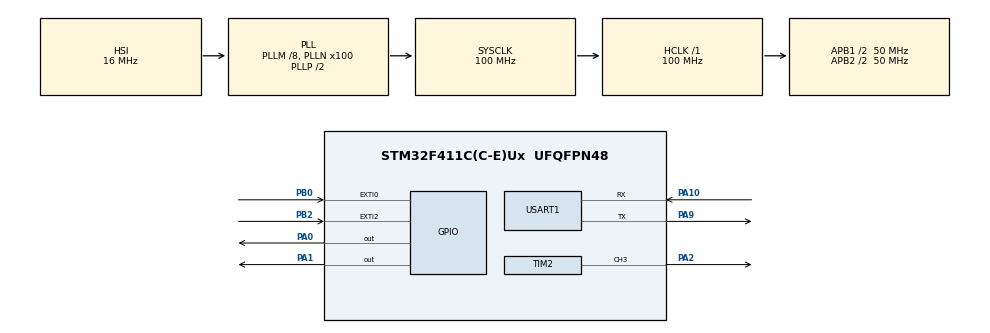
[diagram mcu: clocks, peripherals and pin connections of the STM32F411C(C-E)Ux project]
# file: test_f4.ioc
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Dma.Request0=USART1_RX
Dma.Request1=USART1_TX
Dma.USART1_RX.0.Direction=DMA_PERIPH_TO_MEMORY
Dma.USART1_RX.0.FIFOMode=DMA_FIFOMODE_DISABLE
Dma.USART1_RX.0.Instance=DMA2_Stream2
Dma.USART1_RX.0.MemDataAlignment=DMA_MDATAALIGN_BYTE
Dma.USART1_RX.0.MemInc=DMA_MINC_ENABLE
Dma.USART1_RX.0.Mode=DMA_NORMAL
Dma.USART1_RX.0.PeriphDataAlignment=DMA_PDATAALIGN_BYTE
Dma.USART1_RX.0.PeriphInc=DMA_PINC_DISABLE
Dma.USART1_RX.0.Priority=DMA_PRIORITY_LOW
Dma.USART1_TX.1.Direction=DMA_MEMORY_TO_PERIPH
Dma.USART1_TX.1.FIFOMode=DMA_FIFOMODE_DISABLE
Dma.USART1_TX.1.Instance=DMA2_Stream7
Dma.USART1_TX.1.MemDataAlignment=DMA_MDATAALIGN_BYTE
Dma.USART1_TX.1.MemInc=DMA_MINC_ENABLE
Dma.USART1_TX.1.Mode=DMA_NORMAL
Dma.USART1_TX.1.PeriphDataAlignment=DMA_PDATAALIGN_BYTE
Dma.USART1_TX.1.PeriphInc=DMA_PINC_DISABLE
Dma.USART1_TX.1.Priority=DMA_PRIORITY_LOW
Mcu.Family=STM32F4
Mcu.Name=STM32F411C(C-E)Ux
Mcu.Package=UFQFPN48
NVIC.DMA2_Stream2_IRQn=true\:0\:0\:false\:false\:true\:false\:true\:true
NVIC.DMA2_Stream7_IRQn=true\:0\:0\:false\:false\:true\:false\:true\:true
NVIC.EXTI0_IRQn=true\:0\:0\:false\:false\:true\:true\:true\:true
NVIC.EXTI2_IRQn=true\:0\:0\:false\:false\:true\:true\:true\:true
NVIC.PriorityGroup=NVIC_PRIORITYGROUP_4
NVIC.TIM4_IRQn=true\:0\:0\:false\:false\:true\:true\:true\:true
NVIC.USART1_IRQn=true\:0\:0\:false\:false\:true\:true\:true\:true
PA0-WKUP.Signal=GPIO_Output
PA1.Signal=GPIO_Output
PA10.Mode=Asynchronous
PA10.Signal=USART1_RX
PA13.Mode=Serial_Wire
PA13.Signal=SYS_JTMS-SWDIO
PA14.Mode=Serial_Wire
PA14.Signal=SYS_JTCK-SWCLK
PA2.Signal=S_TIM2_CH3
PA9.Mode=Asynchronous
PA9.Signal=USART1_TX
PB0.GPIO_ModeDefaultEXTI=GPIO_MODE_IT_RISING_FALLING
PB0.GPIO_PuPd=GPIO_PULLUP
PB0.Signal=GPXTI0
PB2.GPIO_ModeDefaultEXTI=GPIO_MODE_IT_RISING_FALLING
PB2.GPIO_PuPd=GPIO_PULLUP
PB2.Signal=GPXTI2
PH0\ -\ OSC_IN.Mode=HSE-External-Oscillator
PH0\ -\ OSC_IN.Signal=RCC_OSC_IN
PH1\ -\ OSC_OUT.Mode=HSE-External-Oscillator
PH1\ -\ OSC_OUT.Signal=RCC_OSC_OUT
ProjectManager.HeapSize=0x200
ProjectManager.StackSize=0x400
ProjectManager.TargetToolchain=MDK-ARM V5.32
RCC.48MHZClocksFreq_Value=50000000
RCC.AHBFreq_Value=100000000
RCC.APB1CLKDivider=RCC_HCLK_DIV2
RCC.APB1Freq_Value=50000000
RCC.APB1TimFreq_Value=100000000
RCC.APB2CLKDivider=RCC_HCLK_DIV2
RCC.APB2Freq_Value=50000000
RCC.APB2TimFreq_Value=100000000
RCC.CortexFreq_Value=100000000
RCC.HCLKFreq_Value=100000000
RCC.HSE_VALUE=25000000
RCC.HSI_VALUE=16000000
RCC.LSE_VALUE=32768
RCC.PLLM=8
RCC.PLLN=100
RCC.SYSCLKFreq_VALUE=100000000
RCC.SYSCLKSource=RCC_SYSCLKSOURCE_PLLCLK
RCC.VCOOutputFreq_Value=200000000
SH.S_TIM2_CH3.0=TIM2_CH3,PWM Generation3 CH3
TIM2.Channel-PWM\ Generation3\ CH3=TIM_CHANNEL_3
TIM2.Period=1000
TIM2.Prescaler=4
TIM4.Period=4999
TIM4.Prescaler=99
USART1.VirtualMode=VM_ASYNC
VP_TIM2_VS_ClockSourceINT.Mode=Internal
VP_TIM4_VS_ClockSourceINT.Mode=Internal
board=custom

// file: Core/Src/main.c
/* USER CODE BEGIN Header */
/**
  ******************************************************************************
  * @file           : main.c
  * @brief          : Main program body
  ******************************************************************************
  * @attention
  *
  * Copyright (c) 2024 STMicroelectronics.
  * All rights reserved.
  *
  * This software is licensed under terms that can be found in the LICENSE file
  * in the root directory of this software component.
  * If no LICENSE file comes with this software, it is provided AS-IS.
  *
  ******************************************************************************
  */
/* USER CODE END Header */
#include "main.h"

/* USER CODE BEGIN Includes */
#include "stdio.h"
#include "string.h"
#include "stdlib.h"
#include "stdbool.h"
#include "math.h"

#include "encoder.h"
#include "motor.h"
#include "pid_controller.h"
#include "system_config.h"
#include "trajectory.h"
#include "uart.h"

/* USER CODE END Includes */

TIM_HandleTypeDef htim2;
TIM_HandleTypeDef htim4;

UART_HandleTypeDef huart1;
DMA_HandleTypeDef hdma_usart1_rx;
DMA_HandleTypeDef hdma_usart1_tx;

void SystemClock_Config(void);
static void MX_GPIO_Init(void);
static void MX_DMA_Init(void);
static void MX_TIM2_Init(void);
static void MX_USART1_UART_Init(void);
static void MX_TIM4_Init(void);
/* USER CODE BEGIN PFP */
//=== Vel: PI
#if 1
float Kp 	= 8.7719;
float Ki 	= 438.5965;
float Kb 	= 50.0000;
float Kd  = 0;
float alpha_vel = 0.0f;

//float Kp 	= 23.3;
//float Ki 	= 776.67;
//float Kb 	= 33.33;//;
//float Kd  = 0;
//float alpha_vel = 0.0f;
#endif
#if 0
float Kp 	= 1.1363;//0.2058;
float Ki 	= 37.8261;//6.3327;
float Kb 	= 33.2889;//;
float Kd  = 0;
float alpha_vel = 0.0f;
#endif
//=== Improved Profile Gains
float	Kp_pos = 800.0;
float Kpp_improved = 10.0;   // P gain position controller
//float Kpp_improved = 5.0;   // P gain position controller
float Kest = 100000.0;           // Estimation gain (< 1.0: overdamped, > 1.0: underdamped)
float Kcom = 20.0;           	 // Compensation gain (< 1.0: overdamped, > 1.0: underdamped)
//=== Uart
char Rx_indx, Rx_Buffer[MaxBuffer],Rx_data[MaxBuffer];
//char Tx_Buffer[MaxBuffer];
volatile uint8_t uart1_flag = 0;

encoder Encoder = {0};
motor Motor = {0};
pid_controller PIDVel;
pid_controller PIDPos;
Trajectory_t trajectory = {0};
/* USER CODE END PFP */

/* USER CODE BEGIN 0 */
float max_pwm_P = SYS_MaxPWM_P;
float speed = 0;
int8_t chieu = 0;
uint32_t count_element = 0;
char Tx_Buffer[MaxBuffer];  // 2 buffer xen kẽ
volatile uint8_t active_buffer = 0;
volatile uint8_t dma_busy = 0;
PlotBuffer_t plot_buffer = {0};

void HAL_TIM_PeriodElapsedCallback(TIM_HandleTypeDef *htim) {
    if(htim->Instance == TIM4) {    // 5ms
			switch(Motor.mode){
				case MOTOR_SetPos:
					MOTOR_CalculateParams(&Motor, &Encoder, trajectory.sign, trajectory.phase);
					speed = Motor.CurVel_rad;
					if(chieu == -1) Motor.pwm = -1000;
					else if(chieu == 0) Motor.pwm = 0;
					else Motor.pwm = 1000;					break;

				case MOTOR_P_PI:
					// TÍNH TOÁN THÔNG SỐ
					MOTOR_CalculateParams(&Motor, &Encoder, trajectory.sign, trajectory.phase);
					// CẬP NHẬT TRAJECTORY
					if(trajectory.use_v1) TRAJ_DrawTrajectory_v1(&trajectory);
					else TRAJ_DrawTrajectory(&trajectory);
					// PID VỊ TRÍ
					Motor.DesiredVel_mm = PID_Pos_Improved(&PIDPos, trajectory.q_desired, Motor.CurPos_mm);
					Motor.DesiredVel_rad = Motor.DesiredVel_mm * SYS_MM2RAD;
					//if(fabs(Motor.DesiredVel_rad) < 0.85) Motor.DesiredVel_rad = 0;
					// PID VẬN TỐC
					Motor.pwm = PID_Vel(&PIDVel, Motor.DesiredVel_rad, Motor.CurVel_rad, trajectory.phase, trajectory.sign);
					break;
				case MOTOR_P:
					// TÍNH TOÁN THÔNG SỐ
					MOTOR_CalculateParams(&Motor, &Encoder, trajectory.sign, trajectory.phase);
					// CẬP NHẬT TRAJECTORY
					if(trajectory.use_v1) TRAJ_DrawTrajectory_v1(&trajectory);
					else TRAJ_DrawTrajectory(&trajectory);
					// PID VỊ TRÍ
					Motor.pwm = PID_Pos_Simple(&PIDPos, trajectory.q_desired, Motor.CurPos_mm);

					break;
			}
			if(Motor.tick_enabled) Motor.tick++;
			MOTOR_SetRun(&Motor);
			#if 1
			if (Motor.plot_active) {
            // Ghi d? li?u vào buffer
            if (plot_buffer.count < PLOT_BUFFER_SIZE) {
                PlotData_t *data = &plot_buffer.buffer[plot_buffer.write_idx];

                data->q_desired = trajectory.q_desired_prev;
                data->q_actual = Motor.CurPos_mm;
                data->v_desired = 0.0;
                data->v_actual = (float)Motor.DesiredVel_mm;
                data->v_motor = Motor.CurVel_mm;
                data->a_desired = 0.0;
                data->a_motor = Motor.Acc_mm;
								data->pwm = Motor.pwm;

                plot_buffer.write_idx = (plot_buffer.write_idx + 1) % PLOT_BUFFER_SIZE;

                // CRITICAL: Tang count ph?i atomic
                __disable_irq();
                plot_buffer.count++;
                __enable_irq();
            }
        }
			// Cập nhật state
			trajectory.v_desired_prev = trajectory.v_desired;
			trajectory.q_desired_prev = trajectory.q_desired;
			#endif
    }
}
void HAL_UART_TxCpltCallback(UART_HandleTypeDef *huart) {
    if(huart->Instance == USART1) {
        dma_busy = 0;  // Cho phép gửi tiếp
    }
}
/* USER CODE END 0 */

int main(void)
{

  /* MCU Configuration--------------------------------------------------------*/

  /* Reset of all peripherals, Initializes the Flash interface and the Systick. */
  HAL_Init();

  /* Configure the system clock */
  SystemClock_Config();

  /* Initialize all configured peripherals */
  MX_GPIO_Init();
  MX_DMA_Init();
  MX_TIM2_Init();
  MX_USART1_UART_Init();
  MX_TIM4_Init();

  /* Infinite loop */
  /* USER CODE BEGIN WHILE */
	//--- Timer
	HAL_TIM_Base_Start_IT(&htim4);
	//--- PWM
	HAL_TIM_PWM_Start(&htim2, TIM_CHANNEL_3);
	//--- UART
	UART_Receive_Enable(&huart1, (uint8_t *)Rx_Buffer, MaxBuffer);
	//--- SetParams

	MOTOR_SetParams(&Motor, TIM_CHANNEL_3, MOTOR_PIN_1, MOTOR_PIN_2, MOTOR_SetPos, MOTOR_MAXVEL_MM);
	PID_SetParams(&PIDVel, Kp, Ki, Kd, Kb, alpha_vel, SYS_MaxPWM, SYS_SAMPLETIME);
	if(Motor.mode == MOTOR_P)PID_SetParamsImproved(&PIDPos, Kp_pos, SYS_MaxPWM_P, SYS_SAMPLETIME, Kest, Kcom, Motor.a_max_mm);
	else PID_SetParamsImproved(&PIDPos, Kpp_improved, Motor.v_max_mm, SYS_SAMPLETIME, Kest, Kcom, Motor.a_max_mm);
	PID_ResetState(&PIDPos);

	TRAJ_SetParams(&trajectory, SYS_SAMPLETIME, SYS_RUN_TIME, SYS_STOP_TIME, Motor.a_max_mm * 2.0, Motor.v_max_mm);

	float Kpp_improved_pre = Kpp_improved;
	float preKest = Kest;
	float preKcom = Kcom;
	float premax_pwm_P = max_pwm_P;
	float preKp_pos = Kp_pos;
//	trajectory.test = 1;
//	Motor.pwm = 1000;
//	trajectory.sign = 1;
//	HAL_Delay(1000);
//	MOTOR_SetRun(&Motor);
//	__HAL_TIM_SetCompare(&htim2, TIM_CHANNEL_3, 1000);
  while (1)
  {
			#if 1
			if(plot_buffer.reset) {
					chieu = 0;
					memset(Tx_Buffer, 0, sizeof(Tx_Buffer));
					UART_ResetPlotData(&plot_buffer);

					MOTOR_ResetParams(&Motor);
					ENCODER_ResetParams(&Encoder);
					TRAJ_ResetParams(&trajectory);
					PID_ResetParams(&PIDVel);
					plot_buffer.reset = 0;
					HAL_Delay(200);
			}
			switch(Motor.mode){
					case MOTOR_SetPos:
						break;

					case MOTOR_P_PI:
							if (plot_buffer.count > 0 && !dma_busy) {
									PlotData_t *data = &plot_buffer.buffer[plot_buffer.read_idx];

									int len = snprintf(Tx_Buffer, MaxBuffer,
																		"%.3f %.3f %.3f %.3f %.3f %.3f %.3f %.3f 0.0\r\n",
																		data->q_desired,
																		data->q_actual,
																		data->v_desired,
																		data->v_actual,
																		data->v_motor,
																		data->a_desired,
																		data->a_motor,
																		data->pwm
																		);

									if (len > 0 && len < MaxBuffer) {
											dma_busy = 1;
											HAL_UART_Transmit_DMA(&huart1, (uint8_t *)Tx_Buffer, len);

											plot_buffer.read_idx = (plot_buffer.read_idx + 1) % PLOT_BUFFER_SIZE;

											__disable_irq();
											plot_buffer.count--;
											__enable_irq();

											count_element++;
									}
							}
						if(trajectory.phase == TRAJ_PHASE_STOP) {  // Đã gần đích
								Motor.tick_enabled = 1;

								if(Motor.tick >= 400){  // 400 * 5ms = 2s
										// Sau 2s mà vẫn sai số > 10mm => CÓ LỖI
										if(fabs(trajectory.q_desired - Motor.CurPos_mm) > 10.0) {
												plot_buffer.reset = 1;
												PIDVel.err_state = 1;
										}
										else {
												// Đã ổn định => tắt tick
												Motor.check = 0;
												Motor.tick_enabled = 0;
										}
										Motor.tick = 0;
								}
						}
						else {
								// Động cơ đang chuyển động hoặc chưa gần đích => KHÔNG kiểm tra lỗi
								Motor.tick_enabled = 0;
								Motor.tick = 0;
						}
						break;
					case MOTOR_P:
							if (plot_buffer.count > 0 && !dma_busy) {
								PlotData_t *data = &plot_buffer.buffer[plot_buffer.read_idx];

								int len = snprintf(Tx_Buffer, MaxBuffer,
																	"%.3f %.3f %.3f %.3f %.3f %.3f %.3f %.3f 0.0\r\n",
																	data->q_desired,
																	data->q_actual,
																	0.0,
																	0.0,
																	data->v_motor,
																	0.0,
																	data->a_motor,
																	data->pwm
																	);

								if (len > 0 && len < MaxBuffer) {
										dma_busy = 1;
										HAL_UART_Transmit_DMA(&huart1, (uint8_t *)Tx_Buffer, len);

										plot_buffer.read_idx = (plot_buffer.read_idx + 1) % PLOT_BUFFER_SIZE;

										__disable_irq();
										plot_buffer.count--;
										__enable_irq();

										chieu += 1.0;
								}
						}
						break;
				}
				if(Motor.DesiredPos_mm != Motor.DesiredPos_mm_pre){
						trajectory.plot_active = 1;
						trajectory.move_active = 1;
						Motor.plot_active = 1;
						Motor.tick_enabled = 0;
						Motor.tick = 0;
						Motor.DesiredPos_mm_pre = Motor.DesiredPos_mm;
								TRAJ_SetupMultiSegmentMove_100mm(&trajectory, Motor.DesiredPos_mm);
								TRAJ_ContinueNextSegment_100mm(&trajectory);
						PID_ResetState(&PIDPos);
				}
				if(trajectory.phase == TRAJ_PHASE_COMPLETE &&
					 (fabs(Motor.DesiredPos_mm - Motor.CurPos_mm)) <= Motor.cycle_error[Motor.cycle_index] &&
					 Motor.auto_run)
				{
						if(Motor.cycle_count > 0){
								// Kiểm tra đang ở vị trí nào
								if(fabs(Motor.DesiredPos_mm_pre) < 0.1){
										// Đang ở vị trí 0 → Đi đến vị trí đích
										Motor.DesiredPos_mm = Motor.AutoDesiredPos_mm;
								} else {
										// Đang ở vị trí đích → Quay về 0
										Motor.DesiredPos_mm = 0;

										// Giảm cycle sau khi hoàn thành 1 chu kỳ đầy đủ (đi + về)
										Motor.cycle_count--;
								}
						}
						else {
								// Hết cycle → Dừng auto_run
								Motor.auto_run = 0;
								Motor.DesiredPos_mm_pre = 0;
						}
				}
				#endif
				HAL_Delay(1);
    /* USER CODE END WHILE */

  }
}

void SystemClock_Config(void)
{
  RCC_OscInitTypeDef RCC_OscInitStruct = {0};
  RCC_ClkInitTypeDef RCC_ClkInitStruct = {0};

  /** Configure the main internal regulator output voltage
  */
  __HAL_RCC_PWR_CLK_ENABLE();
  __HAL_PWR_VOLTAGESCALING_CONFIG(PWR_REGULATOR_VOLTAGE_SCALE1);

  /** Initializes the RCC Oscillators according to the specified parameters
  * in the RCC_OscInitTypeDef structure.
  */
  RCC_OscInitStruct.OscillatorType = RCC_OSCILLATORTYPE_HSI;
  RCC_OscInitStruct.HSIState = RCC_HSI_ON;
  RCC_OscInitStruct.HSICalibrationValue = RCC_HSICALIBRATION_DEFAULT;
  RCC_OscInitStruct.PLL.PLLState = RCC_PLL_ON;
  RCC_OscInitStruct.PLL.PLLSource = RCC_PLLSOURCE_HSI;
  RCC_OscInitStruct.PLL.PLLM = 8;
  RCC_OscInitStruct.PLL.PLLN = 100;
  RCC_OscInitStruct.PLL.PLLP = RCC_PLLP_DIV2;
  RCC_OscInitStruct.PLL.PLLQ = 4;
  if (HAL_RCC_OscConfig(&RCC_OscInitStruct) != HAL_OK)
  {
    Error_Handler();
  }

  /** Initializes the CPU, AHB and APB buses clocks
  */
  RCC_ClkInitStruct.ClockType = RCC_CLOCKTYPE_HCLK|RCC_CLOCKTYPE_SYSCLK
                              |RCC_CLOCKTYPE_PCLK1|RCC_CLOCKTYPE_PCLK2;
  RCC_ClkInitStruct.SYSCLKSource = RCC_SYSCLKSOURCE_PLLCLK;
  RCC_ClkInitStruct.AHBCLKDivider = RCC_SYSCLK_DIV1;
  RCC_ClkInitStruct.APB1CLKDivider = RCC_HCLK_DIV2;
  RCC_ClkInitStruct.APB2CLKDivider = RCC_HCLK_DIV2;

  if (HAL_RCC_ClockConfig(&RCC_ClkInitStruct, FLASH_LATENCY_3) != HAL_OK)
  {
    Error_Handler();
  }
}

static void MX_TIM2_Init(void)
{

  TIM_ClockConfigTypeDef sClockSourceConfig = {0};
  TIM_MasterConfigTypeDef sMasterConfig = {0};
  TIM_OC_InitTypeDef sConfigOC = {0};

  htim2.Instance = TIM2;
  htim2.Init.Prescaler = 4;
  htim2.Init.CounterMode = TIM_COUNTERMODE_UP;
  htim2.Init.Period = 1000;
  htim2.Init.ClockDivision = TIM_CLOCKDIVISION_DIV1;
  htim2.Init.AutoReloadPreload = TIM_AUTORELOAD_PRELOAD_DISABLE;
  if (HAL_TIM_Base_Init(&htim2) != HAL_OK)
  {
    Error_Handler();
  }
  sClockSourceConfig.ClockSource = TIM_CLOCKSOURCE_INTERNAL;
  if (HAL_TIM_ConfigClockSource(&htim2, &sClockSourceConfig) != HAL_OK)
  {
    Error_Handler();
  }
  if (HAL_TIM_PWM_Init(&htim2) != HAL_OK)
  {
    Error_Handler();
  }
  sMasterConfig.MasterOutputTrigger = TIM_TRGO_RESET;
  sMasterConfig.MasterSlaveMode = TIM_MASTERSLAVEMODE_DISABLE;
  if (HAL_TIMEx_MasterConfigSynchronization(&htim2, &sMasterConfig) != HAL_OK)
  {
    Error_Handler();
  }
  sConfigOC.OCMode = TIM_OCMODE_PWM1;
  sConfigOC.Pulse = 0;
  sConfigOC.OCPolarity = TIM_OCPOLARITY_HIGH;
  sConfigOC.OCFastMode = TIM_OCFAST_DISABLE;
  if (HAL_TIM_PWM_ConfigChannel(&htim2, &sConfigOC, TIM_CHANNEL_3) != HAL_OK)
  {
    Error_Handler();
  }
  HAL_TIM_MspPostInit(&htim2);

}

static void MX_TIM4_Init(void)
{

  TIM_ClockConfigTypeDef sClockSourceConfig = {0};
  TIM_MasterConfigTypeDef sMasterConfig = {0};

  htim4.Instance = TIM4;
  htim4.Init.Prescaler = 99;
  htim4.Init.CounterMode = TIM_COUNTERMODE_UP;
  htim4.Init.Period = 4999;
  htim4.Init.ClockDivision = TIM_CLOCKDIVISION_DIV1;
  htim4.Init.AutoReloadPreload = TIM_AUTORELOAD_PRELOAD_DISABLE;
  if (HAL_TIM_Base_Init(&htim4) != HAL_OK)
  {
    Error_Handler();
  }
  sClockSourceConfig.ClockSource = TIM_CLOCKSOURCE_INTERNAL;
  if (HAL_TIM_ConfigClockSource(&htim4, &sClockSourceConfig) != HAL_OK)
  {
    Error_Handler();
  }
  sMasterConfig.MasterOutputTrigger = TIM_TRGO_RESET;
  sMasterConfig.MasterSlaveMode = TIM_MASTERSLAVEMODE_DISABLE;
  if (HAL_TIMEx_MasterConfigSynchronization(&htim4, &sMasterConfig) != HAL_OK)
  {
    Error_Handler();
  }

}

static void MX_USART1_UART_Init(void)
{

  huart1.Instance = USART1;
  huart1.Init.BaudRate = 115200;
  huart1.Init.WordLength = UART_WORDLENGTH_8B;
  huart1.Init.StopBits = UART_STOPBITS_1;
  huart1.Init.Parity = UART_PARITY_NONE;
  huart1.Init.Mode = UART_MODE_TX_RX;
  huart1.Init.HwFlowCtl = UART_HWCONTROL_NONE;
  huart1.Init.OverSampling = UART_OVERSAMPLING_16;
  if (HAL_UART_Init(&huart1) != HAL_OK)
  {
    Error_Handler();
  }

}

static void MX_DMA_Init(void)
{

  /* DMA controller clock enable */
  __HAL_RCC_DMA2_CLK_ENABLE();

  /* DMA interrupt init */
  /* DMA2_Stream2_IRQn interrupt configuration */
  HAL_NVIC_SetPriority(DMA2_Stream2_IRQn, 0, 0);
  HAL_NVIC_EnableIRQ(DMA2_Stream2_IRQn);
  /* DMA2_Stream7_IRQn interrupt configuration */
  HAL_NVIC_SetPriority(DMA2_Stream7_IRQn, 0, 0);
  HAL_NVIC_EnableIRQ(DMA2_Stream7_IRQn);

}

static void MX_GPIO_Init(void)
{
  GPIO_InitTypeDef GPIO_InitStruct = {0};

  /* GPIO Ports Clock Enable */
  __HAL_RCC_GPIOH_CLK_ENABLE();
  __HAL_RCC_GPIOA_CLK_ENABLE();
  __HAL_RCC_GPIOB_CLK_ENABLE();

  /*Configure GPIO pin Output Level */
  HAL_GPIO_WritePin(GPIOA, GPIO_PIN_0|GPIO_PIN_1, GPIO_PIN_RESET);

  /*Configure GPIO pins : PA0 PA1 */
  GPIO_InitStruct.Pin = GPIO_PIN_0|GPIO_PIN_1;
  GPIO_InitStruct.Mode = GPIO_MODE_OUTPUT_PP;
  GPIO_InitStruct.Pull = GPIO_NOPULL;
  GPIO_InitStruct.Speed = GPIO_SPEED_FREQ_LOW;
  HAL_GPIO_Init(GPIOA, &GPIO_InitStruct);

  /*Configure GPIO pins : PB0 PB2 */
  GPIO_InitStruct.Pin = GPIO_PIN_0|GPIO_PIN_2;
  GPIO_InitStruct.Mode = GPIO_MODE_IT_RISING_FALLING;
  GPIO_InitStruct.Pull = GPIO_PULLUP;
  HAL_GPIO_Init(GPIOB, &GPIO_InitStruct);

  /* EXTI interrupt init*/
  HAL_NVIC_SetPriority(EXTI0_IRQn, 0, 0);
  HAL_NVIC_EnableIRQ(EXTI0_IRQn);

  HAL_NVIC_SetPriority(EXTI2_IRQn, 0, 0);
  HAL_NVIC_EnableIRQ(EXTI2_IRQn);

}

/* USER CODE BEGIN 4 */
struct __FILE
{
  int handle;

};
/* FILE is typedef'd in stdio.h. */
FILE __stdout;
int fputc(int ch, FILE *f)
{
  /* Your implementation of fputc(). */
	HAL_UART_Transmit(&huart1, (uint8_t *) &ch,1,100);
//	HAL_UART_Transmit_DMA(&huart1, (uint8_t *) &ch,1);

  return ch;
}
// Ham ngat Uart
void HAL_UARTEx_RxEventCallback(UART_HandleTypeDef *huart, uint16_t Size){
    if (huart->Instance == USART1)
    {
        UART_Receive_Enable(&huart1, (uint8_t *)Rx_Buffer, MaxBuffer);

				char first_char = Rx_Buffer[0];
				if(first_char == 'r'){
						plot_buffer.reset = 1;
						PIDVel.err_state = 0;
						return;
				}
				memcpy(Rx_data, Rx_Buffer, MaxBuffer * sizeof(Rx_Buffer[0]));
				switch(first_char){
					case 'm':
								MOTOR_ResetParams(&Motor);
								ENCODER_ResetParams(&Encoder);
								TRAJ_ResetParams(&trajectory);
								if(strcmp(Rx_Buffer, "mode 0") == 0){
										Motor.cycle_index = 1;
										MOTOR_UpdateMode(&Motor, MOTOR_P);
										PID_SetParamsImproved(&PIDPos, Kp_pos, SYS_MaxPWM_P, SYS_SAMPLETIME, Kest, Kcom, Motor.a_max_mm);
								}
								else if(strcmp(Rx_Buffer, "mode 1") == 0){
										Kpp_improved = 5.0;
										trajectory.use_v1 = 0;
										Motor.cycle_index = 0;
										MOTOR_UpdateMode(&Motor, MOTOR_P_PI);
										PID_SetParamsImproved(&PIDPos, Kpp_improved, Motor.v_max_mm, SYS_SAMPLETIME, Kest, Kcom, Motor.a_max_mm);
								}
								else if(strcmp(Rx_Buffer, "mode 2") == 0){
										trajectory.use_v1 = 1;
										Motor.cycle_index = 0;
										MOTOR_UpdateMode(&Motor, MOTOR_P_PI);
										PID_SetParamsImproved(&PIDPos, Kpp_improved, Motor.v_max_mm, SYS_SAMPLETIME, Kest, Kcom, Motor.a_max_mm);
								}
								else{
										MOTOR_UpdateMode(&Motor, MOTOR_SetPos);
										trajectory.sign = 1;
								}
								plot_buffer.reset = 1;
								break;
					case 'c':
								if(Motor.mode == MOTOR_SetPos){
										if(strcmp(Rx_Buffer, "c-1") == 0){
												chieu = -1;
										}
										else if(strcmp(Rx_Buffer, "c0") == 0){
												chieu = 0;
										}
										else{
												chieu = 1;
										}
								}
					case 'x':
										{
											char *token1 = strtok(Rx_Buffer + 1, "x");  // Bỏ ký tự 'x' đầu
											char *token2 = strtok(NULL, "x");

											if (token1 != NULL && token2 != NULL) {
													int position = atof(token1);
													int cycles = atoi(token2);

													// Lưu vào struct trajectory hoặc motor
													MOTOR_UpdatePos(&Motor, position);
													Motor.AutoDesiredPos_mm = Motor.DesiredPos_mm;
													Motor.cycle_count = cycles;
													Motor.auto_run = 1;  // Bật chế độ chu trình
											}
										}
										break;
					default:
								break;
				}

				if(Motor.mode != MOTOR_SetPos){
						// Lấy ký tự cuối cùng làm command
						char last_char = Rx_Buffer[Size - 1];

						switch(last_char) {
								case 's':
										// Thay ký tự 's' bằng null terminator để atoi chỉ đọc phần số
										Rx_Buffer[Size - 1] = '\0';
										MOTOR_UpdatePos(&Motor, atoi(Rx_Buffer));
										break;

								case 'v':
										if(Motor.mode == MOTOR_P) break;
										// Thay ký tự 'v' bằng null terminator để atoi chỉ đọc phần số
										Rx_Buffer[Size - 1] = '\0';
										MOTOR_UpdateVel(&Motor, atoi(Rx_Buffer));

										PID_SetParamsImproved(&PIDPos, Kpp_improved, Motor.v_max_mm, SYS_SAMPLETIME, Kest, Kcom, Motor.a_max_mm);
										TRAJ_SetParams(&trajectory, SYS_SAMPLETIME, SYS_RUN_TIME, SYS_STOP_TIME, Motor.a_max_mm, Motor.v_max_mm);
										break;

								case 'p':
										Rx_Buffer[Size - 1] = '\0';
										if(Motor.mode == MOTOR_P){
												Kp_pos = atof(Rx_Buffer);
												PID_SetParamsImproved(&PIDPos, Kp_pos, SYS_MaxPWM_P, SYS_SAMPLETIME, Kest, Kcom, Motor.a_max_mm);
										}
										else{
												Kpp_improved = atof(Rx_Buffer);
												PID_SetParamsImproved(&PIDPos, Kpp_improved, Motor.v_max_mm, SYS_SAMPLETIME, Kest, Kcom, Motor.a_max_mm);
										}
								case 'e':
										if(Motor.mode == MOTOR_P) break;
										Rx_Buffer[Size - 1] = '\0';
										if(atoi(Rx_Buffer) == 0)	PID_DisableImproved(&PIDPos);
										else PID_EnableImproved(&PIDPos);
										break;

								default:
										break;
						}
				}

        // Reset buffer
        memset(Rx_Buffer, 0, sizeof(Rx_Buffer));
    }
}

void HAL_GPIO_EXTI_Callback(uint16_t GPIO_Pin){
    if(GPIO_Pin == Encoder_A || GPIO_Pin == Encoder_B) {
        ProcessEncoder(&Encoder, Encoder_A, Encoder_B);
    }
}
/* USER CODE END 4 */

void Error_Handler(void)
{
  __disable_irq();
  while (1)
  {
  }
}
